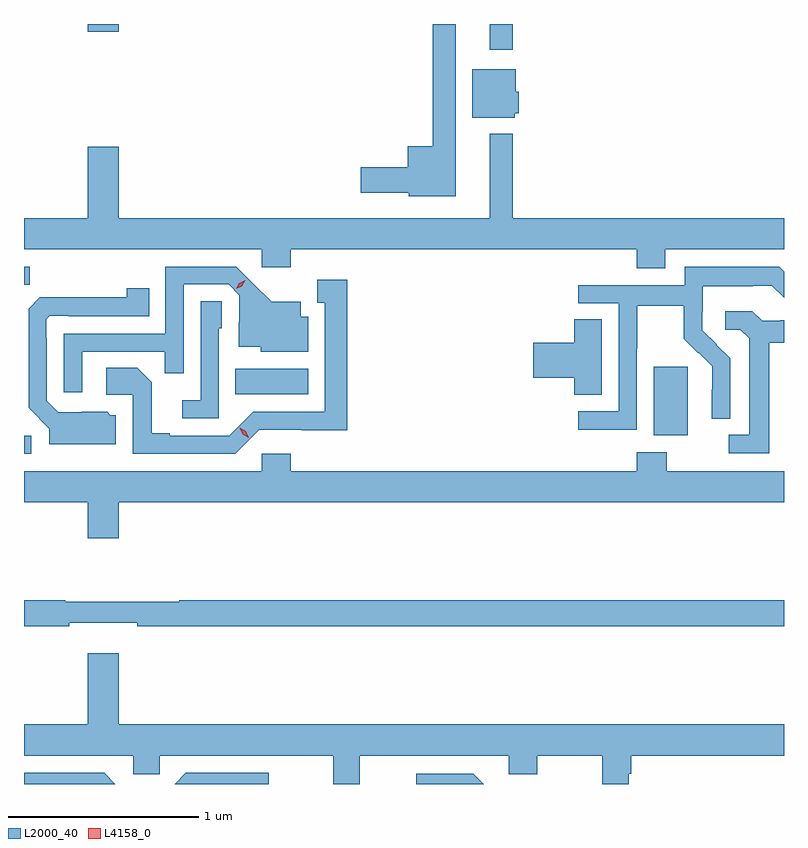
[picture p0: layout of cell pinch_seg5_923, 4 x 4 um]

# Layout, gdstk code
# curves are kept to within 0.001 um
import gdstk
lib = gdstk.Library(unit=1e-6, precision=1e-09)
def R(c, l, rs):  # rectangles x0, y0, x1, y1
    for r in rs: c.add(gdstk.rectangle(r[:2], r[2:], *l))
def P(c, l, *ps):  # polygons
    for p in ps: c.add(gdstk.Polygon(p, *l))
L2000_40 = (2000, 40)
L4158_0 = (4158, 0)

pinch_seg5_923 = lib.new_cell('pinch_seg5_923')
R(pinch_seg5_923, L2000_40, [(668.169,912.96,668.206,913.056), (671.483,913.058,671.662,913.419), (669.28,913.274,669.664,913.408), (668.169,913.849,668.199,913.944), (670.619,915.087,670.741,915.222), (668.504,915.18,668.668,915.222)])
P(pinch_seg5_923, L2000_40, [(670.441,915.222),(670.32,915.222),(670.32,914.578),(670.19,914.578),(670.19,914.468),(669.942,914.468),(669.942,914.333),(670.194,914.333),(670.194,914.315),(670.441,914.315)],
  [(670.752,914.751),(670.774,914.751),(670.774,914.865),(670.756,914.865),(670.756,914.983),(670.529,914.983),(670.529,914.729),(670.752,914.729)],
  [(671.545,914.036),(672.169,914.036),(672.169,914.2),(670.741,914.2),(670.741,914.644),(670.619,914.644),(670.619,914.2),(668.668,914.2),(668.668,914.575),(668.504,914.575),(668.504,914.2),(668.169,914.2),(668.169,914.036),(669.42,914.036),(669.42,913.941),(669.572,913.941),(669.572,914.036),(671.393,914.036),(671.393,913.937),(671.545,913.937)],
  [(671.394,913.516),(671.397,913.516),(671.397,913.74),(671.641,913.74),(671.641,913.565),(671.718,913.488),(671.721,913.491),(671.792,913.421),(671.792,913.298),(671.79,913.298),(671.79,913.144),(671.886,913.144),(671.886,913.462),(671.74,913.61),(671.74,913.707),(671.742,913.707),(671.742,913.841),(672.005,913.841),(672.005,913.845),(672.105,913.845),(672.169,913.781),(672.169,913.919),(672.143,913.945),(671.646,913.945),(671.646,913.848),(671.085,913.848),(671.085,913.752),(671.298,913.752),(671.298,913.185),(671.085,913.185),(671.085,913.087),(671.394,913.087)],
  [(668.475,913.497),(668.911,913.497),(668.911,913.384),(669.009,913.384),(669.009,913.851),(669.246,913.851),(669.303,913.794),(669.303,913.652),(669.299,913.652),(669.299,913.523),(669.414,913.523),(669.414,913.496),(669.664,913.496),(669.664,913.681),(669.625,913.681),(669.625,913.759),(669.473,913.759),(669.286,913.944),(668.913,913.944),(668.913,913.593),(668.379,913.593),(668.379,913.284),(668.475,913.284)],
  [(669.408,913.086),(669.871,913.085),(669.871,913.876),(669.713,913.876),(669.713,913.755),(669.752,913.755),(669.752,913.182),(669.375,913.182),(669.249,913.056),(668.935,913.056),(668.935,913.069),(668.841,913.069),(668.841,913.336),(668.765,913.412),(668.601,913.412),(668.601,913.272),(668.742,913.272),(668.742,912.96),(669.282,912.96)],
  [(668.653,913.164),(668.622,913.164),(668.606,913.18),(668.349,913.179),(668.289,913.239),(668.289,913.568),(668.286,913.568),(668.286,913.668),(668.304,913.686),(668.404,913.686),(668.404,913.683),(668.828,913.683),(668.828,913.831),(668.71,913.831),(668.71,913.784),(668.252,913.783),(668.193,913.724),(668.193,913.202),(668.303,913.092),(668.303,913.01),(668.653,913.01)],
  [(669.195,913.62),(669.21,913.62),(669.21,913.763),(669.099,913.763),(669.099,913.243),(669.003,913.243),(669.003,913.146),(669.195,913.146)],
  [(672.091,913.544),(672.169,913.544),(672.169,913.662),(672.148,913.662),(672.148,913.659),(672.054,913.659),(672.002,913.711),(671.859,913.711),(671.859,913.614),(671.94,913.614),(671.987,913.567),(671.987,913.059),(671.877,913.059),(671.877,912.963),(672.091,912.963)],
  [(671.209,913.667),(671.066,913.667),(671.066,913.544),(670.848,913.544),(670.848,913.361),(671.066,913.361),(671.066,913.27),(671.209,913.27)],
  [(668.668,912.704),(672.169,912.704),(672.169,912.868),(671.553,912.868),(671.553,912.967),(671.393,912.967),(671.393,912.868),(669.572,912.868),(669.572,912.961),(669.42,912.961),(669.42,912.868),(668.169,912.868),(668.169,912.704),(668.504,912.704),(668.504,912.516),(668.668,912.516)],
  [(668.408,912.071),(668.764,912.071),(668.764,912.052),(672.169,912.052),(672.169,912.188),(668.987,912.188),(668.987,912.181),(668.387,912.181),(668.387,912.188),(668.169,912.188),(668.169,912.052),(668.408,912.052)],
  [(669.937,911.372),(670.721,911.372),(670.721,911.273),(670.869,911.273),(670.869,911.372),(671.213,911.372),(671.213,911.222),(671.353,911.222),(671.353,911.276),(671.366,911.276),(671.366,911.372),(672.169,911.372),(672.169,911.536),(668.668,911.536),(668.668,911.911),(668.504,911.911),(668.504,911.536),(668.169,911.536),(668.169,911.372),(668.745,911.372),(668.745,911.274),(668.883,911.274),(668.883,911.372),(669.797,911.372),(669.797,911.222),(669.937,911.222)],
  [(668.591,911.281),(668.169,911.281),(668.169,911.222),(668.65,911.222)],
  [(669.456,911.28),(669.021,911.28),(668.963,911.222),(669.456,911.222)],
  [(670.533,911.277),(670.233,911.277),(670.233,911.222),(670.588,911.222)])
P(pinch_seg5_923, L4158_0, [(669.352,913.045),(669.321,913.064),(669.304,913.097),(669.304,913.098),(669.304,913.098),(669.335,913.078),(669.352,913.045),(669.352,913.045)],
  [(669.285,913.828),(669.285,913.829),(669.303,913.858),(669.333,913.873),(669.334,913.873),(669.334,913.873),(669.316,913.843),(669.285,913.828)])

lib.write_gds('pinch_seg5_923.gds')
